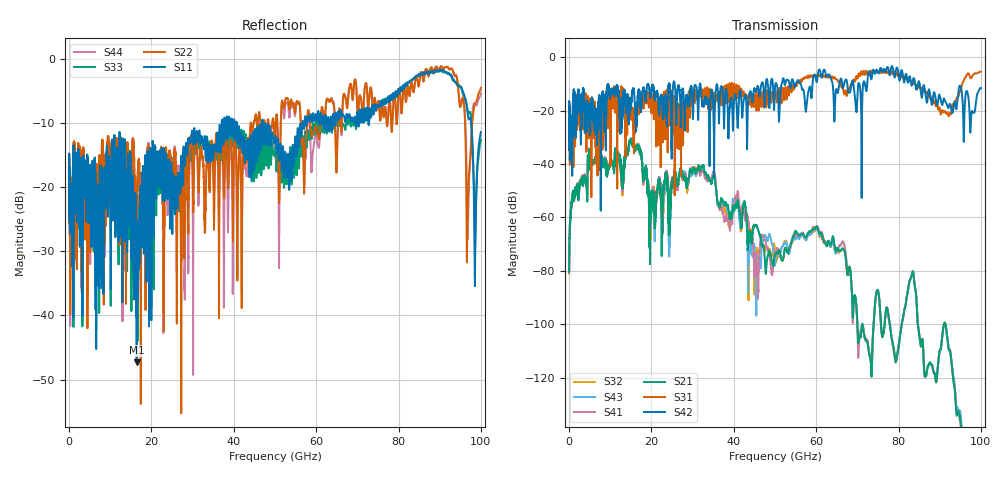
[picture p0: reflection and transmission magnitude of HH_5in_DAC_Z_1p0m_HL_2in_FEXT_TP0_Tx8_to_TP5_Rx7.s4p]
# GHz S RI R 45
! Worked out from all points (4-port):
!   4000 points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, 25 MHz to 100 GHz, reference 45 ohm
!   strongest paths, dB at 25 MHz, 25.02 GHz, 50.02 GHz, 75.03 GHz, 100 GHz:
!     S42: -18.8, -19.7, -11.3, -5.7, -11.5
!     S31: -19.0, -20.6, -13.5, -5.7, -5.4
!     S21: -80.4, -46.0, -74.0, -87.4, -181.2
!     S41: -80.1, -45.2, -74.0, -87.4, -178.3
!     S43: -79.8, -47.0, -77.8, -87.5, -181.9
!     S32: -81.0, -45.9, -73.9, -87.5, -183.3
!   lowest |S11| = -47.3 dB at 16.43 GHz (marker M1), VSWR 1.01, Z = 45.4 + j0.00846 ohm
!   |S11| at or under -10 dB: start of sweep to 37.07 GHz; 40.73 GHz to 46.89 GHz (6.16 GHz wide, 14.1 % of centre); 47.07 GHz to 56.68 GHz (9.605 GHz wide, 18.5 % of centre)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
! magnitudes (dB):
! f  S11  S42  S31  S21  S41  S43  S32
! 25 MHz  -16.3  -18.8  -19.0  -80.4  -80.1  -79.8  -81.0
! 5.025 GHz  -17.2  -21.5  -15.6  -37.6  -37.5  -37.8  -37.7
! 16.43 GHz  -47.3  -23.1  -26.1  -33.9  -34.0  -33.9  -33.4
! 19.88 GHz  -16.6  -13.3  -16.2  -54.9  -56.6  -56.5  -56.8
! 40.83 GHz  -11.1  -22.7  -11.4  -54.6  -51.1  -54.2  -52.7
! 45.48 GHz  -15.8  -12.6  -19.1  -62.9  -74.3  -96.8  -72.5
! 100 GHz  -11.4  -11.5  -5.4  -181.2  -178.3  -181.9  -183.3
